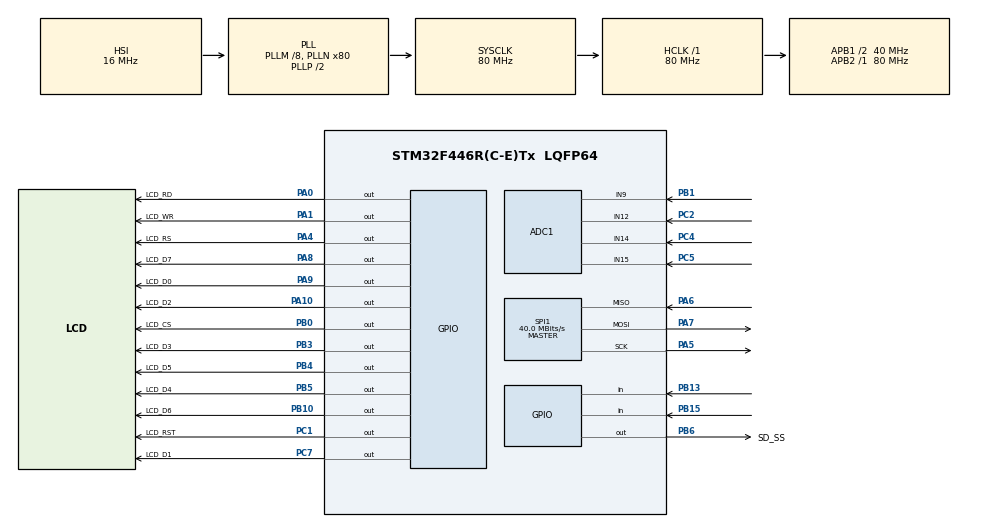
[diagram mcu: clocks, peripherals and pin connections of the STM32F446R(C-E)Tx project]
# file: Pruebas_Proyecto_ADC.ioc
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ADC1.Channel-2\#ChannelRegularConversion=ADC_CHANNEL_9
ADC1.NbrOfConversionFlag=1
ADC1.Rank-2\#ChannelRegularConversion=1
ADC1.SamplingTime-2\#ChannelRegularConversion=ADC_SAMPLETIME_3CYCLES
ADC1.master=1
Mcu.Family=STM32F4
Mcu.Name=STM32F446R(C-E)Tx
Mcu.Package=LQFP64
NVIC.PriorityGroup=NVIC_PRIORITYGROUP_4
PA0-WKUP.GPIO_Label=LCD_RD
PA0-WKUP.GPIO_Speed=GPIO_SPEED_FREQ_HIGH
PA0-WKUP.Signal=GPIO_Output
PA1.GPIO_Label=LCD_WR
PA1.GPIO_Speed=GPIO_SPEED_FREQ_HIGH
PA1.Signal=GPIO_Output
PA10.GPIO_Label=LCD_D2
PA10.GPIO_Speed=GPIO_SPEED_FREQ_HIGH
PA10.Signal=GPIO_Output
PA13.Mode=Serial_Wire
PA13.Signal=SYS_JTMS-SWDIO
PA14.Mode=Serial_Wire
PA14.Signal=SYS_JTCK-SWCLK
PA4.GPIO_Label=LCD_RS
PA4.GPIO_Speed=GPIO_SPEED_FREQ_HIGH
PA4.Signal=GPIO_Output
PA5.Mode=Full_Duplex_Master
PA5.Signal=SPI1_SCK
PA6.Mode=Full_Duplex_Master
PA6.Signal=SPI1_MISO
PA7.Mode=Full_Duplex_Master
PA7.Signal=SPI1_MOSI
PA8.GPIO_Label=LCD_D7
PA8.GPIO_Speed=GPIO_SPEED_FREQ_HIGH
PA8.Signal=GPIO_Output
PA9.GPIO_Label=LCD_D0
PA9.GPIO_Speed=GPIO_SPEED_FREQ_HIGH
PA9.Signal=GPIO_Output
PB0.GPIO_Label=LCD_CS
PB0.GPIO_Speed=GPIO_SPEED_FREQ_HIGH
PB0.Signal=GPIO_Output
PB1.Signal=ADCx_IN9
PB10.GPIO_Label=LCD_D6
PB10.GPIO_Speed=GPIO_SPEED_FREQ_HIGH
PB10.Signal=GPIO_Output
PB13.Signal=GPIO_Input
PB15.Signal=GPIO_Input
PB3.GPIO_Label=LCD_D3
PB3.GPIO_Speed=GPIO_SPEED_FREQ_HIGH
PB3.Signal=GPIO_Output
PB4.GPIO_Label=LCD_D5
PB4.GPIO_Speed=GPIO_SPEED_FREQ_HIGH
PB4.Signal=GPIO_Output
PB5.GPIO_Label=LCD_D4
PB5.GPIO_Speed=GPIO_SPEED_FREQ_HIGH
PB5.Signal=GPIO_Output
PB6.GPIO_Label=SD_SS
PB6.GPIO_Speed=GPIO_SPEED_FREQ_HIGH
PB6.Signal=GPIO_Output
PC1.GPIO_Label=LCD_RST
PC1.GPIO_Speed=GPIO_SPEED_FREQ_HIGH
PC1.Signal=GPIO_Output
PC2.Signal=ADCx_IN12
PC4.Signal=ADCx_IN14
PC5.Signal=ADCx_IN15
PC7.GPIO_Label=LCD_D1
PC7.GPIO_Speed=GPIO_SPEED_FREQ_HIGH
PC7.Signal=GPIO_Output
PH0-OSC_IN.Mode=HSE-External-Oscillator
PH0-OSC_IN.Signal=RCC_OSC_IN
PH1-OSC_OUT.Mode=HSE-External-Oscillator
PH1-OSC_OUT.Signal=RCC_OSC_OUT
ProjectManager.HeapSize=0x200
ProjectManager.StackSize=0x400
ProjectManager.TargetToolchain=STM32CubeIDE
RCC.AHBFreq_Value=80000000
RCC.APB1CLKDivider=RCC_HCLK_DIV2
RCC.APB1Freq_Value=40000000
RCC.APB1TimFreq_Value=80000000
RCC.APB2Freq_Value=80000000
RCC.APB2TimFreq_Value=80000000
RCC.CortexFreq_Value=80000000
RCC.HCLKFreq_Value=80000000
RCC.PLLM=8
RCC.PLLN=80
RCC.SYSCLKFreq_VALUE=80000000
RCC.SYSCLKSource=RCC_SYSCLKSOURCE_PLLCLK
RCC.USBFreq_Value=80000000
RCC.VCOOutputFreq_Value=160000000
SH.ADCx_IN12.0=ADC1_IN12,IN12
SH.ADCx_IN14.0=ADC1_IN14,IN14
SH.ADCx_IN15.0=ADC1_IN15,IN15
SH.ADCx_IN9.0=ADC1_IN9,IN9
SPI1.CalculateBaudRate=40.0 MBits/s
SPI1.Direction=SPI_DIRECTION_2LINES
SPI1.Mode=SPI_MODE_MASTER
SPI1.VirtualType=VM_MASTER
board=custom

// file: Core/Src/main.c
/* USER CODE BEGIN Header */
/**
  ******************************************************************************
  * @file           : main.c
  * @brief          : Main program body
  ******************************************************************************
  * @attention
  *
  * Copyright (c) 2024 STMicroelectronics.
  * All rights reserved.
  *
  ******************************************************************************
  */
/* USER CODE END Header */
#include "main.h"

/* USER CODE BEGIN Includes */
#include "ili9341.h"
#include <stdio.h>
#include <string.h>
/* USER CODE END Includes */

ADC_HandleTypeDef hadc1;

SPI_HandleTypeDef hspi1;

/* USER CODE BEGIN PV */
extern uint8_t fondo[];
extern uint8_t menu[];
extern uint8_t selecion[];
extern uint8_t flecha[];
extern uint8_t perro[];
extern uint8_t perro1[];
extern uint8_t perro2[];
extern uint8_t perro3[];
extern uint8_t perro4[];
extern uint8_t perro5[];
extern uint8_t perro6[];
extern uint8_t perro7[];
extern uint8_t Ronda[];
extern uint8_t Patos[];
extern uint8_t mira1[];
extern uint8_t Caza[];
extern uint8_t patocayendo[];
extern uint8_t muerto[];
extern uint8_t Rojo[];
extern uint8_t patox[];
extern uint8_t mira2[];

//variables
int menu_position = 0;  // Posición del menú
int coorX = 100;  // Posición inicial X del pato
int coorY = 60;   // Posición inicial Y del pato
int patoWidth = 29;  // Ancho del sprite del pato
int patoHeight = 31; // Alto del sprite del pato
int velocidadX = 1;  // Velocidad en el eje X
int velocidadY = 1;  // Velocidad en el eje Y
int limiteSuperior = 0, limiteInferior = 140, limiteIzquierdo = 0, limiteDerecho = 320;  // Límites del área azul
int animFrame = 0;  // Frame inicial de animación del pato
int direccionDerecha = 1;  // Dirección del pato
int miraX = 160;  // Posición inicial X de la mira
int miraY = 120;  // Posición inicial Y de la mir
int lastMiraX = 160;  // Posición inicial X de la mira
int lastMiraY = 120;  // Posición inicial Y de la mira
int patoMuerto = 0;  // Indica si el pato ha sido disparado
int patoCayendo = 0; // Indica si el pato está en proceso de caer
int miraDisparo = 0; // Indica si se ha presionado el botón para disparar
int coorXPatoMuerto, coorYPatoMuerto; // Coordenadas del pato muerto
int contadorvidasP = 0;  // Contador de vidas de los patos
int posicionesX[6] = {50, 120, 200, 60, 150, 180};  // Posiciones X predefinidas
int posicionesY[6] = {40, 60, 80, 100, 50, 90};     // Posiciones Y predefinidas
int vidaActual = 0;  // Variable para controlar cuántas vidas (patos) quedan

int coorX2 = 150;  // Posición inicial X del segundo pato
int coorY2 = 80;   // Posición inicial Y del segundo pato
int pato2Muerto = 0;  // Indica si el segundo pato ha sido disparado
int pato2Cayendo = 0; // Indica si el segundo pato está en proceso de caer
int coorXPato2Muerto, coorYPato2Muerto; // Coordenadas del segundo pato muerto

int numeroPatos = 1;  // Número de patos, por defecto es 1, pero cambia a 2 en la segunda opción del menú
int decoracionFrame = 0;

int miraX2 = 160;  // Posición inicial X de la mira del segundo jugador
int miraY2 = 120;  // Posición inicial Y de la mira del segundo jugador
int lastMiraX2 = 160;  // Última posición X de la mira del segundo jugador
int lastMiraY2 = 120;  // Última posición Y de la mira del segundo jugador
int miraDisparo2 = 0;  // Indica si se ha presionado el botón del segundo jugador
int lastMira2X = 160;  // Posición inicial X de la segunda mira
int lastMira2Y = 120;  // Posición inicial Y de la segunda mira
int mira2X = 160;  // Posición inicial X de la segunda mira
int mira2Y = 120;  // Posición inicial Y de la segunda mira

/* USER CODE END PV */

void SystemClock_Config(void);
static void MX_GPIO_Init(void);
static void MX_SPI1_Init(void);
static void MX_ADC1_Init(void);

/* USER CODE BEGIN 0 */

/* Función para leer valores del ADC */
int Read_ADC(uint32_t channel) {
    ADC_ChannelConfTypeDef sConfig = {0};
    sConfig.Channel = channel;
    sConfig.Rank = 1;
    sConfig.SamplingTime = ADC_SAMPLETIME_3CYCLES;
    HAL_ADC_ConfigChannel(&hadc1, &sConfig);

    HAL_ADC_Start(&hadc1);
    HAL_ADC_PollForConversion(&hadc1, HAL_MAX_DELAY);
    int value = HAL_ADC_GetValue(&hadc1);
    HAL_ADC_Stop(&hadc1);

    return value;
}

/* Función para iniciar el juego */
void startGame() {
		contadorvidasP = 0;
    // Dibuja el fondo completo inicialmente
		LCD_Bitmap(0, 0, 320, 240, fondo);
		LCD_Bitmap(105, 143, 54, 46, perro1);  // Dibuja el primer frame del perro
    	HAL_Delay(5);
    	LCD_Bitmap(0, 0, 320, 240, fondo);  // Redibuja el fondo completo

    	// Desplaza ligeramente el perro y cambia la imagen
    	LCD_Bitmap(109, 147, 57, 42, perro2);  // Dibuja el segundo frame
    	HAL_Delay(5);
    	LCD_Bitmap(0, 0, 320, 240, fondo);  // Redibuja el fondo completo

    	// Continúa desplazando el perro
    	LCD_Bitmap(113, 147, 57, 42, perro3);  // Dibuja el tercer frame
    	HAL_Delay(5);
    	LCD_Bitmap(0, 0, 320, 240, fondo);  // Redibuja el fondo completo

    	LCD_Bitmap(117, 147, 57, 42, perro2);  // Dibuja el cuarto frame
    	HAL_Delay(5);
    	LCD_Bitmap(0, 0, 320, 240, fondo);  // Redibuja el fondo completo

    	LCD_Bitmap(121, 147, 57, 42, perro3);  // Dibuja el quinto frame
    	HAL_Delay(5);
    	LCD_Bitmap(0, 0, 320, 240, fondo);  // Redibuja el fondo completo

    	LCD_Bitmap(125, 147, 57, 42, perro2);  // Dibuja el sexto frame
    	HAL_Delay(5);
    	LCD_Bitmap(0, 0, 320, 240, fondo);  // Redibuja el fondo completo

    	LCD_Bitmap(129, 147, 57, 42, perro3);  // Dibuja el séptimo frame
    	HAL_Delay(5);
    	LCD_Bitmap(0, 0, 320, 240, fondo);  // Redibuja el fondo completo

    	// Salto del perro
    	LCD_Bitmap(132, 142, 57, 53, perro4);  // Dibuja el perro saltando
    	HAL_Delay(5);
    	LCD_Bitmap(0, 0, 320, 240, fondo);  // Redibuja el fondo completo

    	LCD_Bitmap(136, 122, 37, 48, perro5);  // Dibuja el siguiente frame del salto
    	HAL_Delay(5);
    	LCD_Bitmap(0, 0, 320, 240, fondo);  // Redibuja el fondo completo

    	LCD_Bitmap(150, 114, 37, 48, perro6);  // Dibuja el siguiente frame del salto
    	HAL_Delay(5);
    	LCD_Bitmap(0, 0, 320, 240, fondo);  // Redibuja el fondo completo

    	LCD_Bitmap(175, 132, 33, 33, perro7);  // Dibuja el perro aterrizando
    	HAL_Delay(5);
    	LCD_Bitmap(0, 0, 320, 240, fondo);  // Redibuja el fondo completo
    	HAL_Delay(1000);  // Pausa antes de mostrar la ronda

    	FillRect(0, 0, 100, 40,  0x559D);  // Rellena la pantalla con color celeste
    	LCD_Print("    Estas Listo!", 20, 80, 2, 0x0000,  0x559D);  // Texto negro con fondo celeste
    	HAL_Delay(1000);
    	LCD_Bitmap(0, 0, 320, 240, fondo);
    	FillRect(0, 0, 100, 40, 0x559D);  // �?rea donde aparece el número
    	LCD_Print("3", 150, 80, 2, 0x0000, 0x559D);  // Texto negro
    	HAL_Delay(1000);  // Pausa de 1 segundo
    	LCD_Bitmap(0, 0, 320, 240, fondo);
    		    // Muestra el número "2" con fondo celeste
    	FillRect(0, 0, 100, 40, 0x559D);  // �?rea donde aparece el número
    	LCD_Print("2", 150, 80, 2, 0x0000, 0x559D);  // Texto negro
    	HAL_Delay(1000);  // Pausa de 1 segundo
    	LCD_Bitmap(0, 0, 320, 240, fondo);
    		    // Muestra el número "1" con fondo celeste
    	FillRect(0, 0, 100, 40, 0x559D);  // �?rea donde aparece el número
    	LCD_Print("1", 150, 80, 2, 0x0000, 0x559D);  // Texto negro
    	HAL_Delay(1000);  // Pausa de 1 segundo
    		// Dibuja los indicadores de ronda
    	LCD_Bitmap(0, 0, 320, 240, fondo);

    	LCD_Bitmap(120, 220, 9, 9, Ronda);
    	LCD_Bitmap(132, 220, 9, 9, Ronda);
    	LCD_Bitmap(144, 220, 9, 9, Ronda);
    	LCD_Bitmap(156, 220, 9, 9, Ronda);
    	LCD_Bitmap(168, 220, 9, 9, Ronda);
    	LCD_Bitmap(180, 220, 9, 9, Ronda);

    // Continuar con el resto de la animación
}

/* Función para dibujar el menú */
void drawMenu(){
    LCD_Clear(0x00);  // Limpia la pantalla
    LCD_Bitmap(50, 0, 250, 216, selecion);  // Dibuja el menú de selección

    // Mostrar el sprite decorativo del pato en el menú (a la izquierda)
    animarDecoracion();  // Llama a la función para animar el pato decorativo

    // Mostrar las opciones del menú
    if (menu_position == 0) {
        LCD_Bitmap(100, 125, 11, 7, flecha);  // Flecha en la primera opción
    } else {
        LCD_Bitmap(100, 140, 11, 7, flecha);  // Flecha en la segunda opción
    }
}
void animarDecoracion() {
    // Alternar entre los dos frames de animación del pato decorativo
    decoracionFrame = (decoracionFrame + 1) % 2;  // 2 frames para la animación de 'patox'

    // Dibuja el sprite decorativo a la izquierda del menú (posición X: 10, Y: 100)
    LCD_Sprite(50, 125, 45, 40, patox, 2, decoracionFrame, 0, 1);

    // Control de velocidad de animación (ajustable)
    HAL_Delay(200);  // Controla la velocidad de cambio entre los dos frames
}
/* Función para manejar el menú */
/* Función para manejar el menú */
void menuSelection() {
    LCD_Bitmap(50, 0, 250, 216, selecion);
    LCD_Bitmap(100, 125, 11, 7, flecha);
    LCD_Bitmap(100, 140, 11, 7, flecha);

    while (1) {
        int xValue1, yValue1, buttonState1;
        int xValue2, yValue2, buttonState2;

        // Leer valores de joystick 1 (jugador 1)
        xValue1 = Read_ADC(ADC_CHANNEL_9);  // Eje X en PB1 (canal ADC 9)
        yValue1 = Read_ADC(ADC_CHANNEL_12);  // Eje Y en PC2 (canal ADC 12)
        buttonState1 = HAL_GPIO_ReadPin(GPIOB, GPIO_PIN_13);  // Leer estado del botón en PB13

        // Leer valores de joystick 2 (jugador 2)
        xValue2 = Read_ADC(ADC_CHANNEL_14);  // Eje X del segundo joystick en PC4 (canal ADC 14)
        yValue2 = Read_ADC(ADC_CHANNEL_15);  // Eje Y del segundo joystick en PC5 (canal ADC 15)
        buttonState2 = HAL_GPIO_ReadPin(GPIOB, GPIO_PIN_15);  // Leer estado del botón en PB15

        // Mover flecha según el valor de Y de cualquiera de los dos joysticks
        if ((yValue1 < 1000 || yValue2 < 1000) && menu_position > 0) {
            menu_position = 0;
            drawMenu();  // Redibuja el menú
        } else if ((yValue1 > 3000 || yValue2 > 3000) && menu_position < 1) {
            menu_position = 1;
            drawMenu();  // Redibuja el menú
        }

        // Si cualquiera de los botones se presiona, selecciona la opción
        if (buttonState1 == 0 || buttonState2 == 0) {
            if (menu_position == 0) {
                numeroPatos = 1;  // Configura para un solo pato
                startGame();  // Inicia el juego con un pato
                break;
            } else if (menu_position == 1) {
                numeroPatos = 2;  // Configura para dos patos
                startGame();  // Inicia el juego con dos patos
                break;
            }
        }

        HAL_Delay(200);  // Retardo para evitar rebotes
    }
}

void matarPato(int miraX1, int miraY1, int miraX2, int miraY2) {
    // Detectar si la mira del jugador 1 está sobre el pato y se presionó su botón
    if ((miraX1 > coorX && miraX1 < coorX + patoWidth && miraY1 > coorY && miraY1 < coorY + patoHeight) &&
        HAL_GPIO_ReadPin(GPIOB, GPIO_PIN_13) == GPIO_PIN_RESET && !patoMuerto) {

        patoMuerto = 1;  // Indica que el pato ha sido disparado
        patoCayendo = 1; // Empieza el proceso de caída
        coorXPatoMuerto = coorX; // Guarda la posición donde murió el pato
        coorYPatoMuerto = coorY;

        // Dibuja el pato muerto en la posición donde fue disparado
        LCD_Sprite(coorXPatoMuerto, coorYPatoMuerto, 32, 32, muerto, 1, 0, 0, 1);
        HAL_Delay(500);  // Pausa breve antes de que el pato empiece a caer
    }
    // Detectar si la mira del jugador 2 está sobre el pato y se presionó su botón
    else if ((miraX2 > coorX && miraX2 < coorX + patoWidth && miraY2 > coorY && miraY2 < coorY + patoHeight) &&
             HAL_GPIO_ReadPin(GPIOB, GPIO_PIN_15) == GPIO_PIN_RESET && !patoMuerto) {

        patoMuerto = 1;  // Indica que el pato ha sido disparado
        patoCayendo = 1; // Empieza el proceso de caída
        coorXPatoMuerto = coorX; // Guarda la posición donde murió el pato
        coorYPatoMuerto = coorY;

        // Dibuja el pato muerto en la posición donde fue disparado
        LCD_Sprite(coorXPatoMuerto, coorYPatoMuerto, 32, 32, muerto, 1, 0, 0, 1);
        HAL_Delay(500);  // Pausa breve antes de que el pato empiece a caer
    }
}

void patorojo() {
    if (contadorvidasP >= 1) {
        LCD_Bitmap(120, 220, 9, 9, Rojo);  // Primer pato eliminado
    }
    if (contadorvidasP >= 2) {
        LCD_Bitmap(132, 220, 9, 9, Rojo);  // Segundo pato eliminado
    }
    if (contadorvidasP >= 3) {
        LCD_Bitmap(144, 220, 9, 9, Rojo);  // Tercer pato eliminado
    }
    if (contadorvidasP >= 4) {
        LCD_Bitmap(156, 220, 9, 9, Rojo);  // Cuarto pato eliminado
    }
    if (contadorvidasP >= 5) {
        LCD_Bitmap(168, 220, 9, 9, Rojo);  // Quinto pato eliminado
    }
    if (contadorvidasP >= 6) {
        LCD_Bitmap(180, 220, 9, 9, Rojo);  // Sexto pato eliminado
    }
}

void caerPato() {
    if (patoCayendo) {
        int limiteGrama = 120; // Ajusta este valor para que coincida con la altura de la grama

        while (coorYPatoMuerto < limiteGrama) {
            // Borra la posición anterior del pato muerto redibujando el fondo en esa área
            LCD_Bitmap(coorXPatoMuerto, coorYPatoMuerto, 32, 32, fondo);

            // Mueve el pato hacia abajo
            coorYPatoMuerto += 3;  // Velocidad de caída del pato

            // Dibuja el pato cayendo
            animFrame = (animFrame + 1) % 3;
            LCD_Sprite(coorXPatoMuerto, coorYPatoMuerto, 32, 32, patocayendo, 3, animFrame, 0, 1);

            HAL_Delay(50);  // Pausa para controlar la velocidad de la caída
        }

        // Cuando el pato llega al límite de la grama, se muestra el perro levantando el pato
        HAL_Delay(500);  // Pausa breve antes de mostrar el perro
        LCD_Bitmap(coorXPatoMuerto, coorYPatoMuerto, 32, 32, fondo); // Borra el pato caído

        // Ajustamos la posición del perro para que esté justo en la grama
        LCD_Sprite(coorXPatoMuerto - 10, limiteGrama, 46, 38, Caza, 1, 0, 0, 1); // Ajustar la posición Y para que el perro esté justo en la grama

        HAL_Delay(1000);  // Pausa para mostrar la animación del perro

        // Borra la imagen del perro después de la animación
        LCD_Bitmap(coorXPatoMuerto - 10, limiteGrama, 46, 38, fondo);

        // Incrementa el contador de vidas y muestra los patos eliminados
        contadorvidasP++;
        patorojo();  // Llama a la función para mostrar las vidas

        // Verifica si se han eliminado 6 patos
        if (contadorvidasP >= 6) {
            // Mostrar mensaje de "Juego Terminado"
            LCD_Clear(0x00);  // Limpia la pantalla
            LCD_Print("Juego Terminado", 50, 100, 2, 0xFFFF, 0x0000);  // Muestra el mensaje
            HAL_Delay(3000);  // Pausa de 3 segundos para que se vea el mensaje

            // Opcional: Reiniciar el juego
            contadorvidasP = 0;  // Reinicia el contador de patos eliminados
            menuSelection();     // Vuelve al menú principal para reiniciar el juego
            return;  // Salir de la función para no continuar
        }

        // Reinicia la animación del pato volando si no se ha llegado al límite de 6 patos
        patoMuerto = 0;
        patoCayendo = 0;
        coorX = 100;  // Reinicia la posición del pato
        coorY = 60;   // Reinicia la posición del pato
    }
}

/* Función para mover el pato */
void moverPato() {
    // Mover el primer pato
    if (!patoMuerto) {
        // Borra la posición anterior del primer pato redibujando el fondo en esa área
        LCD_Bitmap(coorX, coorY, patoWidth, patoHeight, fondo);

        // Actualiza las coordenadas del primer pato para moverlo
        coorX += velocidadX;
        coorY += velocidadY;

        // Control de límites en el área azul para el primer pato
        if (coorX >= limiteDerecho - patoWidth || coorX <= limiteIzquierdo) {
            velocidadX = -velocidadX;  // Cambia la dirección en X
            direccionDerecha = !direccionDerecha;  // Cambia la dirección visual del pato
        }

        if (coorY >= limiteInferior - patoHeight || coorY <= limiteSuperior) {
            velocidadY = -velocidadY;  // Cambia la dirección en Y
        }

        // Actualiza el frame de la animación de aleteo del primer pato (0, 1, 2)
        animFrame = (animFrame + 1) % 3;

        // Dibuja el sprite del primer pato en la nueva posición y frame de animación
        LCD_Sprite(coorX, coorY, patoWidth, patoHeight, Patos, 3, animFrame, direccionDerecha, 1);

        // Detecta si alguno de los jugadores ha disparado al pato
        matarPato(miraX, miraY, mira2X, mira2Y);  // Pasar las coordenadas de las dos miras al mismo tiempo
    } else if (patoCayendo) {
        caerPato();  // Hacer caer el primer pato
    }

    // Si la opción es de dos patos, también mueve el segundo pato
    if (numeroPatos == 2) {
        if (!pato2Muerto) {
            // Borra la posición anterior del segundo pato redibujando el fondo en esa área
            LCD_Bitmap(coorX2, coorY2, patoWidth, patoHeight, fondo);

            // Actualiza las coordenadas del segundo pato para moverlo
            coorX2 += velocidadX;
            coorY2 += velocidadY;

            // Control de límites en el área azul para el segundo pato
            if (coorX2 >= limiteDerecho - patoWidth || coorX2 <= limiteIzquierdo) {
                velocidadX = -velocidadX;
                direccionDerecha = !direccionDerecha;
            }

            if (coorY2 >= limiteInferior - patoHeight || coorY2 <= limiteSuperior) {
                velocidadY = -velocidadY;
            }

            // Actualiza el frame de la animación de aleteo del segundo pato (0, 1, 2)
            animFrame = (animFrame + 1) % 3;

            // Dibuja el sprite del segundo pato en la nueva posición y frame de animación
            LCD_Sprite(coorX2, coorY2, patoWidth, patoHeight, Patos, 3, animFrame, direccionDerecha, 1);

            // Detecta si alguno de los jugadores ha disparado al segundo pato
            matarPato(miraX, miraY, mira2X, mira2Y);  // Pasar las coordenadas de las dos miras al mismo tiempo
        } else if (pato2Cayendo) {
            caerPato2();  // Hacer caer el segundo pato
        }
    }

    HAL_Delay(50);  // Control de velocidad del movimiento del pato
}

void matarPato2(int miraX, int miraY) {
    if ((miraX > coorX2 && miraX < coorX2 + patoWidth) && (miraY > coorY2 && miraY < coorY2 + patoHeight) && HAL_GPIO_ReadPin(GPIOB, GPIO_PIN_13) == GPIO_PIN_RESET && !pato2Muerto) {
        pato2Muerto = 1;
        pato2Cayendo = 1;
        coorXPato2Muerto = coorX2;
        coorYPato2Muerto = coorY2;

        LCD_Sprite(coorXPato2Muerto, coorYPato2Muerto, 32, 32, muerto, 1, 0, 0, 1);
        HAL_Delay(500);
    }
}
void caerPato2() {
    if (pato2Cayendo) {
        int limiteGrama = 120;

        while (coorYPato2Muerto < limiteGrama) {
            LCD_Bitmap(coorXPato2Muerto, coorYPato2Muerto, 32, 32, fondo);
            coorYPato2Muerto += 3;

            animFrame = (animFrame + 1) % 3;
            LCD_Sprite(coorXPato2Muerto, coorYPato2Muerto, 32, 32, patocayendo, 3, animFrame, 0, 1);
            HAL_Delay(50);
        }

        HAL_Delay(500);
        LCD_Bitmap(coorXPato2Muerto, coorYPato2Muerto, 32, 32, fondo);
        LCD_Sprite(coorXPato2Muerto - 10, limiteGrama, 46, 38, Caza, 1, 0, 0, 1);

        HAL_Delay(1000);
        LCD_Bitmap(coorXPato2Muerto - 10, limiteGrama, 46, 38, fondo);

        contadorvidasP++;
        patorojo();

        pato2Muerto = 0;
        pato2Cayendo = 0;
        coorX2 = 150;
        coorY2 = 80;
    }
}

void moverMira() {
    // Leer valores del joystick del primer jugador (mira1)
    int xValue1 = Read_ADC(ADC_CHANNEL_9);  // Leer el valor X del joystick 1
    int yValue1 = Read_ADC(ADC_CHANNEL_12);  // Leer el valor Y del joystick 1

    // Actualiza la posición de la mira del primer jugador
    miraX += (xValue1 - 2048) / 100;
    miraY += (yValue1 - 2048) / 100;

    // Limita la posición de la mira dentro del área permitida (jugador 1)
    if (miraX < limiteIzquierdo) miraX = limiteIzquierdo;
    if (miraX > limiteDerecho - 26) miraX = limiteDerecho - 26;  // 26 es el ancho de la mira
    if (miraY < limiteSuperior) miraY = limiteSuperior;
    if (miraY > limiteInferior - 23) miraY = limiteInferior - 23;  // 23 es el alto de la mira

    // Limpiar la posición anterior de la mira del jugador 1 redibujando el fondo en esa área
    LCD_Bitmap(lastMiraX, lastMiraY, 26, 23, fondo);

    // Dibuja la mira del jugador 1 en su nueva posición
    LCD_Sprite(miraX, miraY, 26, 23, mira1, 1, 0, 0, 1);

    // Actualiza la posición anterior de la mira del jugador 1
    lastMiraX = miraX;
    lastMiraY = miraY;

    // Leer valores del joystick del segundo jugador (mira2)
    int xValue2 = Read_ADC(ADC_CHANNEL_14);  // Leer el valor X del joystick 2 (canal 14)
    int yValue2 = Read_ADC(ADC_CHANNEL_15);  // Leer el valor Y del joystick 2 (canal 15)

    // Actualiza la posición de la mira del segundo jugador
    mira2X += (xValue2 - 2048) / 100;
    mira2Y += (yValue2 - 2048) / 100;

    // Limita la posición de la mira dentro del área permitida (jugador 2)
    if (mira2X < limiteIzquierdo) mira2X = limiteIzquierdo;
    if (mira2X > limiteDerecho - 26) mira2X = limiteDerecho - 26;  // 26 es el ancho de la mira
    if (mira2Y < limiteSuperior) mira2Y = limiteSuperior;
    if (mira2Y > limiteInferior - 23) mira2Y = limiteInferior - 23;  // 23 es el alto de la mira

    // Limpiar la posición anterior de la mira del jugador 2 redibujando el fondo en esa área
    LCD_Bitmap(lastMira2X, lastMira2Y, 26, 23, fondo);

    // Dibuja la mira del jugador 2 en su nueva posición
    LCD_Sprite(mira2X, mira2Y, 26, 23, mira2, 1, 0, 0, 1);

    // Actualiza la posición anterior de la mira del jugador 2
    lastMira2X = mira2X;
    lastMira2Y = mira2Y;
}

/* USER CODE END 0 */

int main(void)
{

  /* MCU Configuration--------------------------------------------------------*/

  /* Reset of all peripherals, Initializes the Flash interface and the Systick. */
  HAL_Init();

  /* Configure the system clock */
  SystemClock_Config();

  /* Initialize all configured peripherals */
  MX_GPIO_Init();
  MX_SPI1_Init();
  MX_ADC1_Init();
  /* USER CODE BEGIN 2 */
  LCD_Init();
  FillRect(0, 0, 320, 240, 0x00);
  LCD_Bitmap(0, 0, 277, 270, menu);  // Menú del juego
  HAL_Delay(2000);
  LCD_Clear(0x00);

  menuSelection();  // Llama a la función para manejar el menú
  /* USER CODE END 2 */

  /* Infinite loop */
  while (1)
  {

    /* USER CODE BEGIN 3 */
    moverPato();  // Llamar a la función para mover el pato
    moverMira();
  }
  /* USER CODE END 3 */
}

void SystemClock_Config(void)
{
  RCC_OscInitTypeDef RCC_OscInitStruct = {0};
  RCC_ClkInitTypeDef RCC_ClkInitStruct = {0};

  /** Configure the main internal regulator output voltage
  */
  __HAL_RCC_PWR_CLK_ENABLE();
  __HAL_PWR_VOLTAGESCALING_CONFIG(PWR_REGULATOR_VOLTAGE_SCALE3);

  /** Initializes the RCC Oscillators according to the specified parameters
  * in the RCC_OscInitTypeDef structure.
  */
  RCC_OscInitStruct.OscillatorType = RCC_OSCILLATORTYPE_HSI;
  RCC_OscInitStruct.HSIState = RCC_HSI_ON;
  RCC_OscInitStruct.HSICalibrationValue = RCC_HSICALIBRATION_DEFAULT;
  RCC_OscInitStruct.PLL.PLLState = RCC_PLL_ON;
  RCC_OscInitStruct.PLL.PLLSource = RCC_PLLSOURCE_HSI;
  RCC_OscInitStruct.PLL.PLLM = 8;
  RCC_OscInitStruct.PLL.PLLN = 80;
  RCC_OscInitStruct.PLL.PLLP = RCC_PLLP_DIV2;
  RCC_OscInitStruct.PLL.PLLQ = 2;
  RCC_OscInitStruct.PLL.PLLR = 2;
  if (HAL_RCC_OscConfig(&RCC_OscInitStruct) != HAL_OK)
  {
    Error_Handler();
  }

  /** Initializes the CPU, AHB and APB buses clocks
  */
  RCC_ClkInitStruct.ClockType = RCC_CLOCKTYPE_HCLK|RCC_CLOCKTYPE_SYSCLK
                              |RCC_CLOCKTYPE_PCLK1|RCC_CLOCKTYPE_PCLK2;
  RCC_ClkInitStruct.SYSCLKSource = RCC_SYSCLKSOURCE_PLLCLK;
  RCC_ClkInitStruct.AHBCLKDivider = RCC_SYSCLK_DIV1;
  RCC_ClkInitStruct.APB1CLKDivider = RCC_HCLK_DIV2;
  RCC_ClkInitStruct.APB2CLKDivider = RCC_HCLK_DIV1;

  if (HAL_RCC_ClockConfig(&RCC_ClkInitStruct, FLASH_LATENCY_2) != HAL_OK)
  {
    Error_Handler();
  }
}

static void MX_ADC1_Init(void)
{

  ADC_ChannelConfTypeDef sConfig = {0};

  /** Configure the global features of the ADC (Clock, Resolution, Data Alignment and number of conversion)
  */
  hadc1.Instance = ADC1;
  hadc1.Init.ClockPrescaler = ADC_CLOCK_SYNC_PCLK_DIV4;
  hadc1.Init.Resolution = ADC_RESOLUTION_12B;
  hadc1.Init.ScanConvMode = DISABLE;
  hadc1.Init.ContinuousConvMode = DISABLE;
  hadc1.Init.DiscontinuousConvMode = DISABLE;
  hadc1.Init.ExternalTrigConvEdge = ADC_EXTERNALTRIGCONVEDGE_NONE;
  hadc1.Init.ExternalTrigConv = ADC_SOFTWARE_START;
  hadc1.Init.DataAlign = ADC_DATAALIGN_RIGHT;
  hadc1.Init.NbrOfConversion = 1;
  hadc1.Init.DMAContinuousRequests = DISABLE;
  hadc1.Init.EOCSelection = ADC_EOC_SINGLE_CONV;
  if (HAL_ADC_Init(&hadc1) != HAL_OK)
  {
    Error_Handler();
  }

  /** Configure for the selected ADC regular channel its corresponding rank in the sequencer and its sample time.
  */
  sConfig.Channel = ADC_CHANNEL_9;
  sConfig.Rank = 1;
  sConfig.SamplingTime = ADC_SAMPLETIME_3CYCLES;
  if (HAL_ADC_ConfigChannel(&hadc1, &sConfig) != HAL_OK)
  {
    Error_Handler();
  }

}

static void MX_SPI1_Init(void)
{

  /* SPI1 parameter configuration*/
  hspi1.Instance = SPI1;
  hspi1.Init.Mode = SPI_MODE_MASTER;
  hspi1.Init.Direction = SPI_DIRECTION_2LINES;
  hspi1.Init.DataSize = SPI_DATASIZE_8BIT;
  hspi1.Init.CLKPolarity = SPI_POLARITY_LOW;
  hspi1.Init.CLKPhase = SPI_PHASE_1EDGE;
  hspi1.Init.NSS = SPI_NSS_SOFT;
  hspi1.Init.BaudRatePrescaler = SPI_BAUDRATEPRESCALER_2;
  hspi1.Init.FirstBit = SPI_FIRSTBIT_MSB;
  hspi1.Init.TIMode = SPI_TIMODE_DISABLE;
  hspi1.Init.CRCCalculation = SPI_CRCCALCULATION_DISABLE;
  hspi1.Init.CRCPolynomial = 10;
  if (HAL_SPI_Init(&hspi1) != HAL_OK)
  {
    Error_Handler();
  }

}

static void MX_GPIO_Init(void)
{
  GPIO_InitTypeDef GPIO_InitStruct = {0};

  /* GPIO Ports Clock Enable */
  __HAL_RCC_GPIOH_CLK_ENABLE();
  __HAL_RCC_GPIOC_CLK_ENABLE();
  __HAL_RCC_GPIOA_CLK_ENABLE();
  __HAL_RCC_GPIOB_CLK_ENABLE();

  /*Configure GPIO pin Output Level */
  HAL_GPIO_WritePin(GPIOC, LCD_RST_Pin|LCD_D1_Pin, GPIO_PIN_RESET);

  /*Configure GPIO pin Output Level */
  HAL_GPIO_WritePin(GPIOA, LCD_RD_Pin|LCD_WR_Pin|LCD_RS_Pin|LCD_D7_Pin
                          |LCD_D0_Pin|LCD_D2_Pin, GPIO_PIN_RESET);

  /*Configure GPIO pin Output Level */
  HAL_GPIO_WritePin(GPIOB, LCD_CS_Pin|LCD_D6_Pin|LCD_D3_Pin|LCD_D5_Pin
                          |LCD_D4_Pin|SD_SS_Pin, GPIO_PIN_RESET);

  /*Configure GPIO pins : LCD_RST_Pin LCD_D1_Pin */
  GPIO_InitStruct.Pin = LCD_RST_Pin|LCD_D1_Pin;
  GPIO_InitStruct.Mode = GPIO_MODE_OUTPUT_PP;
  GPIO_InitStruct.Pull = GPIO_NOPULL;
  GPIO_InitStruct.Speed = GPIO_SPEED_FREQ_HIGH;
  HAL_GPIO_Init(GPIOC, &GPIO_InitStruct);

  /*Configure GPIO pins : LCD_RD_Pin LCD_WR_Pin LCD_RS_Pin LCD_D7_Pin
                           LCD_D0_Pin LCD_D2_Pin */
  GPIO_InitStruct.Pin = LCD_RD_Pin|LCD_WR_Pin|LCD_RS_Pin|LCD_D7_Pin
                          |LCD_D0_Pin|LCD_D2_Pin;
  GPIO_InitStruct.Mode = GPIO_MODE_OUTPUT_PP;
  GPIO_InitStruct.Pull = GPIO_NOPULL;
  GPIO_InitStruct.Speed = GPIO_SPEED_FREQ_HIGH;
  HAL_GPIO_Init(GPIOA, &GPIO_InitStruct);

  /*Configure GPIO pins : LCD_CS_Pin LCD_D6_Pin LCD_D3_Pin LCD_D5_Pin
                           LCD_D4_Pin SD_SS_Pin */
  GPIO_InitStruct.Pin = LCD_CS_Pin|LCD_D6_Pin|LCD_D3_Pin|LCD_D5_Pin
                          |LCD_D4_Pin|SD_SS_Pin;
  GPIO_InitStruct.Mode = GPIO_MODE_OUTPUT_PP;
  GPIO_InitStruct.Pull = GPIO_NOPULL;
  GPIO_InitStruct.Speed = GPIO_SPEED_FREQ_HIGH;
  HAL_GPIO_Init(GPIOB, &GPIO_InitStruct);

  /*Configure GPIO pins : PB13 PB15 */
  GPIO_InitStruct.Pin = GPIO_PIN_13|GPIO_PIN_15;
  GPIO_InitStruct.Mode = GPIO_MODE_INPUT;
  GPIO_InitStruct.Pull = GPIO_PULLUP;
  HAL_GPIO_Init(GPIOB, &GPIO_InitStruct);

}

void Error_Handler(void)
{
  __disable_irq();
  while (1)
  {
  }
}
